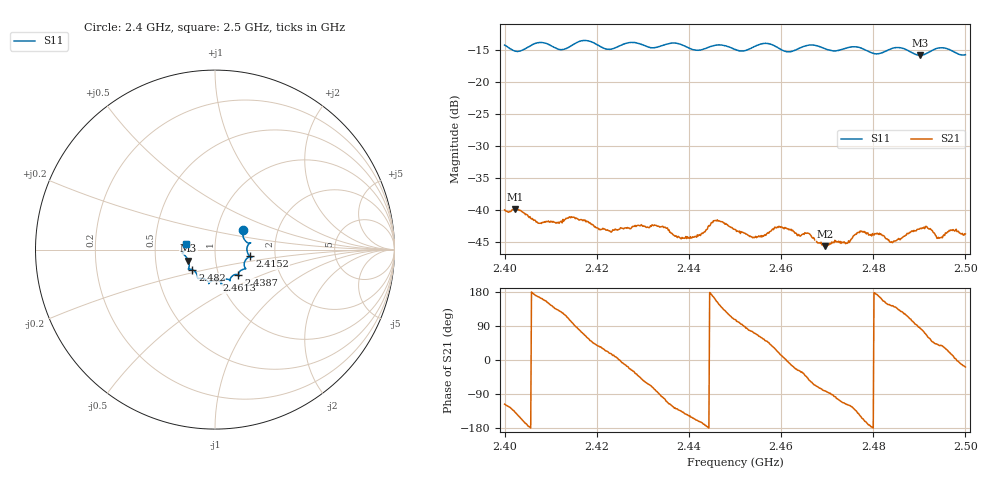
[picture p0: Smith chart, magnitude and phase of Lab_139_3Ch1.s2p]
# Hz S RI R 50
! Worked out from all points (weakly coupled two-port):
!   601 points, 2.4 GHz to 2.5 GHz, reference 50 ohm
!   highest |S21| = -39.93 dB at 2.4023 GHz (marker M1); lowest = -45.7 dB at 2.4695 GHz (marker M2)
!   lowest |S11| = -15.9 dB at 2.4902 GHz (marker M3), VSWR 1.38, Z = 36.8 - j4.66 ohm
!   |S11| at or under -10 dB: start of sweep to end of sweep
!   S12 and S22 are empty: the file has one direction only
!   S11 on the Smith chart (normalised r, x): 2.4 GHz: 1.33, +0.31; 2.4152 GHz: 1.48, -0.11; 2.4387 GHz: 1.24, -0.36; 2.4613 GHz: 0.96, -0.34; 2.482 GHz: 0.76, -0.17; 2.5 GHz: 0.72, +0.05
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2.4e9  0.1578 0.1112  -0.00444 -0.00889  0 0  0 0
2.402333e9  0.1569 0.0724  -0.00756 -0.00667  0 0  0 0
2.4075e9  0.1985 0.037  -0.00759 0.00186  0 0  0 0
2.412167e9  0.1777 0.00404  -0.0049 0.00641  0 0  0 0
2.415167e9  0.1938 -0.037  -0.000194 0.00867  0 0  0 0
2.416667e9  0.2039 -0.0433  0.0024 0.00799  0 0  0 0
2.422833e9  0.1646 -0.0698  0.0065 0.00205  0 0  0 0
2.433333e9  0.1321 -0.1321  0.000429 -0.00741  0 0  0 0
2.438667e9  0.1301 -0.1417  -0.00446 -0.004  0 0  0 0
2.445833e9  0.0833 -0.1735  -0.00758 0.00315  0 0  0 0
2.45e9  0.0689 -0.1646  -0.00202 0.00668  0 0  0 0
2.454333e9  0.0336 -0.1858  0.00205 0.00572  0 0  0 0
2.461333e9  0.00776 -0.1708  0.00706 -0.000411  0 0  0 0
2.466667e9  -0.0347 -0.1901  0.00316 -0.0052  0 0  0 0
2.4695e9  -0.0398 -0.1767  0.000797 -0.00511  0 0  0 0
2.4745e9  -0.0904 -0.1607  -0.00263 -0.00482  0 0  0 0
2.477e9  -0.0965 -0.1575  -0.0054 -0.00379  0 0  0 0
2.482e9  -0.1259 -0.1116  -0.00581 0.00231  0 0  0 0
2.483333e9  -0.1397 -0.1089  -0.00483 0.00324  0 0  0 0
2.490167e9  -0.1483 -0.0616  0.000753 0.00708  0 0  0 0
2.494833e9  -0.1828 -0.0199  0.0048 0.00373  0 0  0 0
2.5e9  -0.1588 0.0329  0.00611 -0.00205  0 0  0 0
